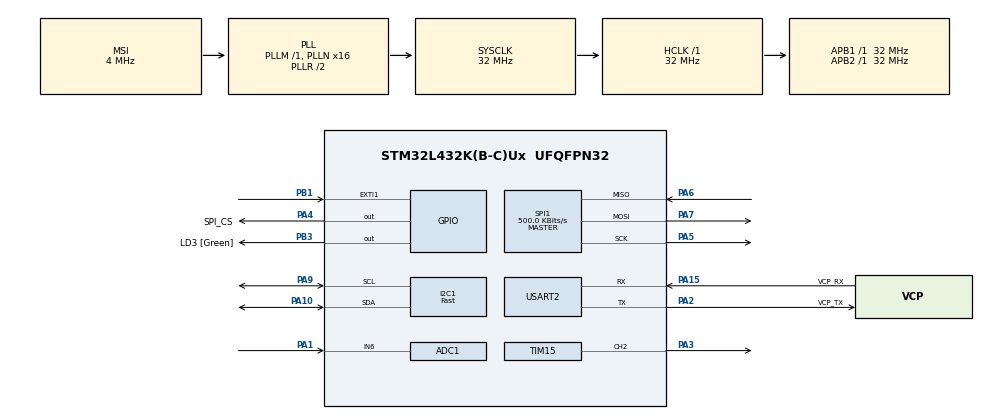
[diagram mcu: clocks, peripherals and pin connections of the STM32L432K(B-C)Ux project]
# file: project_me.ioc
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ADC1.Channel-1\#ChannelRegularConversion=ADC_CHANNEL_6
ADC1.NbrOfConversionFlag=1
ADC1.OffsetNumber-1\#ChannelRegularConversion=ADC_OFFSET_NONE
ADC1.Rank-1\#ChannelRegularConversion=1
ADC1.SamplingTime-1\#ChannelRegularConversion=ADC_SAMPLETIME_2CYCLES_5
ADC1.master=1
I2C1.I2C_Speed_Mode=I2C_Fast
I2C1.Timing=0x0060112F
Mcu.Family=STM32L4
Mcu.Name=STM32L432K(B-C)Ux
Mcu.Package=UFQFPN32
NVIC.EXTI1_IRQn=true\:3\:0\:true\:false\:true\:true\:true\:true
NVIC.PriorityGroup=NVIC_PRIORITYGROUP_4
NVIC.TIM1_UP_TIM16_IRQn=true\:1\:0\:true\:false\:true\:true\:true\:true
NVIC.TIM2_IRQn=true\:2\:0\:true\:false\:true\:true\:true\:true
PA0.GPIO_Label=MCO [High speed clock in]
PA0.Mode=HSE-External-Clock-Source-for-LittleOrca
PA0.Signal=RCC_CK_IN
PA1.Signal=ADCx_IN6
PA10.Mode=I2C
PA10.Signal=I2C1_SDA
PA13\ (JTMS-SWDIO).GPIO_Label=SWDIO
PA13\ (JTMS-SWDIO).Mode=Serial_Wire
PA13\ (JTMS-SWDIO).Signal=SYS_JTMS-SWDIO
PA14\ (JTCK-SWCLK).GPIO_Label=SWCLK
PA14\ (JTCK-SWCLK).Mode=Serial_Wire
PA14\ (JTCK-SWCLK).Signal=SYS_JTCK-SWCLK
PA15\ (JTDI).GPIO_Label=VCP_RX
PA15\ (JTDI).Mode=Asynchronous
PA15\ (JTDI).Signal=USART2_RX
PA2.GPIO_Label=VCP_TX
PA2.Mode=Asynchronous
PA2.Signal=USART2_TX
PA3.Signal=S_TIM15_CH2
PA4.GPIO_Label=SPI_CS
PA4.GPIO_PuPd=GPIO_PULLUP
PA4.GPIO_Speed=GPIO_SPEED_FREQ_HIGH
PA4.PinState=GPIO_PIN_SET
PA4.Signal=GPIO_Output
PA5.GPIO_PuPd=GPIO_PULLUP
PA5.Mode=Full_Duplex_Master
PA5.Signal=SPI1_SCK
PA6.GPIO_PuPd=GPIO_PULLUP
PA6.Mode=Full_Duplex_Master
PA6.Signal=SPI1_MISO
PA7.GPIO_PuPd=GPIO_PULLUP
PA7.Mode=Full_Duplex_Master
PA7.Signal=SPI1_MOSI
PA9.Mode=I2C
PA9.Signal=I2C1_SCL
PB1.GPIO_PuPd=GPIO_PULLDOWN
PB1.Signal=GPXTI1
PB3\ (JTDO-TRACESWO).GPIO_Label=LD3 [Green]
PB3\ (JTDO-TRACESWO).Signal=GPIO_Output
PC14-OSC32_IN\ (PC14).Mode=LSE-External-Oscillator
PC14-OSC32_IN\ (PC14).Signal=RCC_OSC32_IN
PC15-OSC32_OUT\ (PC15).Mode=LSE-External-Oscillator
PC15-OSC32_OUT\ (PC15).Signal=RCC_OSC32_OUT
ProjectManager.HeapSize=0x200
ProjectManager.StackSize=0x800
ProjectManager.TargetToolchain=STM32CubeIDE
RCC.ADCFreq_Value=32000000
RCC.AHBFreq_Value=32000000
RCC.APB1Freq_Value=32000000
RCC.APB1TimFreq_Value=32000000
RCC.APB2Freq_Value=32000000
RCC.APB2TimFreq_Value=32000000
RCC.CortexFreq_Value=32000000
RCC.HCLKFreq_Value=32000000
RCC.HSE_VALUE=8000000
RCC.HSI16_VALUE=16000000
RCC.HSI48_VALUE=48000000
RCC.HSI_VALUE=16000000
RCC.MSI_VALUE=4000000
RCC.PLLMUL=RCC_PLLMUL_4
RCC.PLLN=16
RCC.PLLSAI1N=16
RCC.SYSCLKFreq_VALUE=32000000
RCC.SYSCLKSource=RCC_SYSCLKSOURCE_PLLCLK
RCC.USBFreq_Value=32000000
RCC.VCOOutputFreq_Value=64000000
SH.ADCx_IN6.0=ADC1_IN6,IN6-Single-Ended
SH.S_TIM15_CH2.0=TIM15_CH2,PWM Generation2 CH2
SPI1.BaudRatePrescaler=SPI_BAUDRATEPRESCALER_64
SPI1.CLKPhase=SPI_PHASE_1EDGE
SPI1.CLKPolarity=SPI_POLARITY_LOW
SPI1.CalculateBaudRate=500.0 KBits/s
SPI1.DataSize=SPI_DATASIZE_8BIT
SPI1.Direction=SPI_DIRECTION_2LINES
SPI1.Mode=SPI_MODE_MASTER
SPI1.VirtualType=VM_MASTER
TIM1.AutoReloadPreload=TIM_AUTORELOAD_PRELOAD_ENABLE
TIM15.Channel-PWM\ Generation2\ CH2=TIM_CHANNEL_2
TIM15.Period=19999
TIM15.Prescaler=31
TIM2.AutoReloadPreload=TIM_AUTORELOAD_PRELOAD_ENABLE
TIM2.Period=1999
TIM2.Prescaler=3199
USART2.VirtualMode-Asynchronous=VM_ASYNC
VP_FATFS_VS_Generic.Mode=User_defined
VP_TIM15_VS_ClockSourceINT.Mode=Internal
VP_TIM1_VS_ClockSourceINT.Mode=Internal
VP_TIM2_VS_ClockSourceINT.Mode=Internal
board=NUCLEO-L432KC

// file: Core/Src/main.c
/* USER CODE BEGIN Header */
/**
  ******************************************************************************
  * @file           : main.c
  * @brief          : Main program body
  ******************************************************************************
  * @attention
  *
  * Copyright (c) 2026 STMicroelectronics.
  * All rights reserved.
  *
  * This software is licensed under terms that can be found in the LICENSE file
  * in the root directory of this software component.
  * If no LICENSE file comes with this software, it is provided AS-IS.
  *
  ******************************************************************************
  */
/* USER CODE END Header */
#include "main.h"
#include "fatfs.h"

/* USER CODE BEGIN Includes */
#include <stdio.h>
#include <string.h>
#include <stdarg.h>
#include <stdlib.h>
#include "BME280_STM32.h"
#include "stdio.h"
#include "fonts.h"
#include "ssd1306.h"
#include "icm20948.h"
#include "math.h"

/* USER CODE END Includes */

ADC_HandleTypeDef hadc1;

I2C_HandleTypeDef hi2c1;

SPI_HandleTypeDef hspi1;

TIM_HandleTypeDef htim1;
TIM_HandleTypeDef htim2;
TIM_HandleTypeDef htim15;

UART_HandleTypeDef huart2;

/* USER CODE BEGIN PV */
axises my_gyro;
axises my_accel;
axises my_mag;

float roll, pitch, yaw;
// Variable globale à ajouter
float yaw_offset = 0.0f;
int yaw_initialized = 0;

#define MAG_OFFSET_X  -31.20f
#define MAG_OFFSET_Y   21.45f
#define MAG_OFFSET_Z   51.98f

float Humidity, Pressure, Temperature;

uint32_t val_adc;
float temp_lm35 = 0;
float temp_reel_lm35 = 0;

int place_totale;
int place_dispo;

int newdata;
int update_arinc;
int ecran_type;
int last_ecran_type;

uint32_t mot_arinc; //utilisation de uint pour avoir un int non signé de 32 bits (equivalent unsigned long int)
int sync_counter;

char mess[200];
char buffer_ecriture_ecran[50];

//gestion de l'envoi sur carteSD
uint16_t session_num = 0;
char log_filename[20];
char session_buf[10]={0};

void myprintf(const char *fmt, ...);

/* USER CODE END PV */

void SystemClock_Config(void);
static void MX_GPIO_Init(void);
static void MX_USART2_UART_Init(void);
static void MX_I2C1_Init(void);
static void MX_SPI1_Init(void);
static void MX_TIM2_Init(void);
static void MX_TIM1_Init(void);
static void MX_TIM15_Init(void);
static void MX_ADC1_Init(void);
/* USER CODE BEGIN PFP */
void myprintf(const char *fmt, ...);
uint32_t create_arincWord(uint8_t label,uint8_t sdi,uint32_t data, uint8_t ssm);

/* USER CODE END PFP */

int main(void)
{

  /* MCU Configuration--------------------------------------------------------*/

  /* Reset of all peripherals, Initializes the Flash interface and the Systick. */
  HAL_Init();

  /* Configure the system clock */
  SystemClock_Config();

  /* Initialize all configured peripherals */
  MX_GPIO_Init();
  MX_USART2_UART_Init();
  MX_I2C1_Init();
  MX_SPI1_Init();
  MX_FATFS_Init();
  MX_TIM2_Init();
  MX_TIM1_Init();
  MX_TIM15_Init();
  MX_ADC1_Init();
  /* USER CODE BEGIN 2 */

  // ----------------- INITIALISATION DES PIN POUR L'ARINC ---------------------------

  //pa8 = D9 = A (multiplexeur)
  //pa11 = D10 = (multiplexeur)

  //activation horloge gpio
  RCC->AHB2ENR |= RCC_AHB2ENR_GPIOAEN;

  //on mets les port pa8 et pa11 en mode output (attention codé sur deux bits),
  GPIOA->MODER &= ~(GPIO_MODER_MODE8_1); // on met le bit 9 à 0
  GPIOA->MODER |= GPIO_MODER_MODE8_0; // on met le bit 8 à 1

  GPIOA->MODER &= ~(GPIO_MODER_MODE11_1);
  GPIOA->MODER |= GPIO_MODER_MODE11_0;

  // on configure en push pull
  GPIOA->OTYPER &= ~(GPIO_OTYPER_OT8);
  GPIOA->OTYPER &= ~(GPIO_OTYPER_OT11);

  // on configure la vitesse des ports en high speed ( code sur deux bits)
  GPIOA->OSPEEDR |= GPIO_OSPEEDR_OSPEED8_1;
  GPIOA->OSPEEDR &= ~(GPIO_OSPEEDR_OSPEED8_0);

  GPIOA->OSPEEDR |= GPIO_OSPEEDR_OSPEED11_1;
  GPIOA->OSPEEDR &= ~(GPIO_OSPEEDR_OSPEED11_0);

  // ----------------- INITIALISATION DES PIN POUR LE TOGGLE ---------------------------

    //activation horloge gpio
    RCC->AHB2ENR |= RCC_AHB2ENR_GPIOBEN;

    //mode output (attention codé sur deux bits),
    GPIOB->MODER &= ~(GPIO_MODER_MODE5_1); // on met le bit 9 à 0
    GPIOB->MODER |= GPIO_MODER_MODE5_0; // on met le bit 8 à 1

    // on configure en push pull
    GPIOB->OTYPER &= ~(GPIO_OTYPER_OT5);

    // on configure la vitesse des ports en high speed ( code sur deux bits)
    GPIOB->OSPEEDR |= GPIO_OSPEEDR_OSPEED5_1;
    GPIOB->OSPEEDR &= ~(GPIO_OSPEEDR_OSPEED5_0);

    // ----------------- INITIALISATION DES PIN POUR LES LEDS DE SECU ---------------------------

    // pb6 = tangage
    // pb7 = roulis
    //activation horloge gpio

    RCC->AHB2ENR |= RCC_AHB2ENR_GPIOBEN;

    //mode output (attention codé sur deux bits),
    GPIOB->MODER &= ~(GPIO_MODER_MODE7_1); // on met le bit 9 à 0
    GPIOB->MODER |= GPIO_MODER_MODE7_0; // on met le bit 8 à 1

    GPIOB->MODER &= ~(GPIO_MODER_MODE6_1); // on met le bit 9 à 0
    GPIOB->MODER |= GPIO_MODER_MODE6_0; // on met le bit 8 à 1

    // on configure en push pull
    GPIOB->OTYPER &= ~(GPIO_OTYPER_OT6);
    GPIOB->OTYPER &= ~(GPIO_OTYPER_OT7);

    // on configure la vitesse des ports en high speed ( code sur deux bits)
    GPIOB->OSPEEDR |= GPIO_OSPEEDR_OSPEED6_1;
    GPIOB->OSPEEDR &= ~(GPIO_OSPEEDR_OSPEED6_0);

    GPIOB->OSPEEDR |= GPIO_OSPEEDR_OSPEED7_1;
    GPIOB->OSPEEDR &= ~(GPIO_OSPEEDR_OSPEED7_0);

    // ----------------- SEQUENCE D'INITIALISATION DES CAPTEURS ---------------------------
  myprintf("Début de l'initialisation ");

  int status_ecran = SSD1306_Init ();// demarrer ecran
  if (status_ecran==0){
	  Error_Handler();
  }

  SSD1306_Clear();
  SSD1306_GotoXY (0,10); // va a la pos (0,10)
  SSD1306_Puts ("Initialisation en cours !", &Font_5x7, 1);
  SSD1306_GotoXY (0, 20);
  SSD1306_Puts ("Banc de test avionique.", &Font_5x7, 1);
  SSD1306_UpdateScreen(); // update screen

  int status = BME280_Config(OSRS_2, OSRS_16, OSRS_OFF, MODE_NORMAL, T_SB_0p5, IIR_16); // demarrage bmp280 avec parametres
  if (status!= 0)
  {
	  Error_Handler();
  }

  icm20948_init(); // initialiser gyro et accelero
  ak09916_init(); // initialiser magneto
  ak09916_init();

  HAL_Delay(3000); // delay pour calmer le jeu, surtout pour la carte sd

  // ----------------- FIN SEQUENCE D'INITIALISATION DES CAPTEURS ---------------------------

  // -------------------------- TEST SPI ------------------------------

  myprintf("TEST SPI EN COURS ...\r\n");

  SSD1306_GotoXY (0,40); // va a la pos (0,10)
  SSD1306_Puts ("TEST SPI EN COURS !", &Font_5x7, 1);
  SSD1306_UpdateScreen(); // update screen
  HAL_Delay(1000);

  //Force CS high
  HAL_GPIO_WritePin(SPI_CS_GPIO_Port, SPI_CS_Pin, GPIO_PIN_SET);
  HAL_Delay(10);

  // Envoie 10 octets 0xFF et affiche ce qu'on reçoit
  uint8_t tx = 0xFF, rx = 0x00;
  myprintf("Dummy bytes received: ");
  for(int i = 0; i < 10; i++) {
	  HAL_SPI_TransmitReceive(&hspi1, &tx, &rx, 1, 100);
	  myprintf("%02X ", rx);
  }
  myprintf("\r\n");

  // Force CS low et envoie CMD0
  HAL_GPIO_WritePin(SPI_CS_GPIO_Port, SPI_CS_Pin, GPIO_PIN_RESET);
  HAL_Delay(1);
  uint8_t cmd0[] = {0x40, 0x00, 0x00, 0x00, 0x00, 0x95};
  uint8_t resp[7] = {0};
  HAL_SPI_Transmit(&hspi1, cmd0, 6, 100);
  // Lire 7 octets de réponse
  for(int i = 0; i < 7; i++) {
	  HAL_SPI_TransmitReceive(&hspi1, &tx, &resp[i], 1, 100);
	  myprintf("resp[%d] = %02X\r\n", i, resp[i]);
  }
  HAL_GPIO_WritePin(SPI_CS_GPIO_Port, SPI_CS_Pin, GPIO_PIN_SET);

  SSD1306_GotoXY (0,50); // va a la pos (0,50)
  SSD1306_Puts ("OK !", &Font_5x7, 1);
  SSD1306_UpdateScreen(); // update screen
  HAL_Delay(1000);

  SSD1306_GotoXY (0,50); // on fait ca supprimer le "ok" avant la routine d'init de la carte SD
  SSD1306_Puts ("     ", &Font_5x7, 1);

  // --------------------------- FIN DU TEST SPI ------------------------------

  // --------------------------- GESTION CARTE SD ------------------------------------

  myprintf("\r\n~ GESTION CARTE SD ~\r\n\r\n");

  SSD1306_GotoXY (0,40); // va a la pos (0,10)
  SSD1306_Puts ("TEST CARTE SD EN COURS !", &Font_5x7, 1);
  SSD1306_UpdateScreen(); // update screen
  HAL_Delay(1000);

  //some variables for FatFs
    FATFS FatFs; 	//Fatfs handle
    FIL fil; 		//File handle
    FRESULT fres; //Result after operations

  //Open the file system
  fres = f_mount(&FatFs, "", 1); //1=mount now
  if (fres != FR_OK) {
	  myprintf("f_mount error (%i)\r\n", fres);
	  while(1);
  }

  //   //Let's get some statistics from the SD card
  DWORD free_clusters, free_sectors, total_sectors;
  FATFS* getFreeFs;

  fres = f_getfree("", &free_clusters, &getFreeFs);
  if (fres != FR_OK) {
	  myprintf("f_getfree error (%i)\r\n", fres);
	  while(1);
  }

  //Formula comes from ChaN's documentation
  total_sectors = (getFreeFs->n_fatent - 2) * getFreeFs->csize;
  free_sectors = free_clusters * getFreeFs->csize;

  myprintf("SD card stats:\r\n%10lu KiB total drive space.\r\n%10lu KiB available.\r\n", total_sectors / 2, free_sectors / 2);

  place_totale=total_sectors/2;
  place_dispo=free_sectors/2;

  //Now let's try to open file "write.txt"
  fres = f_open(&fil, "write.txt", FA_READ);
  if (fres != FR_OK) {
	  myprintf("f_open error (%i)\r\n", fres);
	  while(1);
  }
  myprintf("I was able to open 'write.txt' for reading!\r\n");

  //Read 30 bytes from "write.txt" on the SD card
  BYTE readBuf[30];

  //We can either use f_read OR f_gets to get data out of files
  //f_gets is a wrapper on f_read that does some string formatting for us
  TCHAR* rres = f_gets((TCHAR*)readBuf, 30, &fil);
  if(rres != 0) {
	  myprintf("Read string from 'write.txt' contents: %s\r\n", readBuf);
  } else {
	  myprintf("f_gets error (%i)\r\n", fres);
  }

  //Be a tidy kiwi - don't forget to close your file!
  f_close(&fil);

  //Now let's try and write a file "testf.txt"
  fres = f_open(&fil, "testf.txt", FA_WRITE | FA_OPEN_ALWAYS | FA_CREATE_ALWAYS);
  if(fres == FR_OK) {
	  myprintf("I was able to open 'testf.txt' for writing\r\n");
  } else {
	  myprintf("f_open error (%i)\r\n", fres);
  }

  //Copy in a string
  strncpy((char*)readBuf, "ca marche tres bien hugo cuck", 30);
  UINT bytesWrote;
  fres = f_write(&fil, readBuf, 30, &bytesWrote);
  if(fres == FR_OK) {
	  myprintf("Wrote %i bytes to 'testf.txt'!\r\n", bytesWrote);
  } else {
	  myprintf("f_write error (%i)\r\n", fres);
  }

  //Be a tidy kiwi - don't forget to close your file!
  f_close(&fil);

  //We're done, so de-mount the drive
  f_mount(NULL, "", 0);

  // -------------- ICI nous allons créer un fichier de gestion de version pour les fichiers de données

  FIL fil_session;

  f_mount(&FatFs, "", 1);

  //ouvre le fichier et chope le numéro sur lequel on est
  fres = f_open(&fil_session, "session.txt", FA_READ);
  if (fres == FR_OK) {
      f_gets(session_buf, sizeof(session_buf), &fil_session);
      session_num = (uint16_t)atoi(session_buf);
      f_close(&fil_session);
  }

  // incrémente et ecriture de la nouvelle valeur dans le fichier
  session_num++;
  fres = f_open(&fil_session, "session.txt", FA_WRITE | FA_CREATE_ALWAYS);
  if (fres == FR_OK) {
      f_printf(&fil_session, "%u", session_num);
      f_close(&fil_session);
  }

  // construction du fichier de log avec le numero de session actuel
  snprintf(log_filename, sizeof(log_filename), "log_%03u.csv", session_num);

  // ecriture de l'entete du fichier
  fres = f_open(&fil, log_filename, FA_WRITE | FA_CREATE_ALWAYS);
  if (fres == FR_OK) {
	  f_printf(&fil, "roll,pitch,yaw,temperature,pressure\n");
	  //f_close(&fil); // on ne close pas (pour garder le fichier ouvert toute la session)
  }else {
	  myprintf("Erreur ouverture log (%i)\r\n", fres);
  }

  SSD1306_GotoXY(0,50); // va a la pos (0,50)
  SSD1306_Puts("OK !", &Font_5x7, 1);
  SSD1306_UpdateScreen(); // update screen
  HAL_Delay(1000);

  SSD1306_Clear();
  SSD1306_GotoXY(0,0); // va a la pos (0,0)
  SSD1306_Puts("STATS CARTE SD :", &Font_5x7, 1);

  SSD1306_GotoXY(0,20); // va a la pos (0,20)
  sprintf(buffer_ecriture_ecran, "TOTAL BITS : %d bits",place_totale);
  SSD1306_Puts(buffer_ecriture_ecran, &Font_5x7, 1);

  SSD1306_GotoXY(0,30); // va a la pos (0,30)
  sprintf(buffer_ecriture_ecran, "BITS DISPO: %d bits ",place_dispo);
  SSD1306_Puts(buffer_ecriture_ecran, &Font_5x7, 1);

  SSD1306_UpdateScreen(); // update screen
  HAL_Delay(5000);

  // ---------------------------  FIN GESTION CARTE SD ------------------------------------

  SSD1306_Clear();
  HAL_TIM_Base_Start_IT(&htim2); //démarrage du timer d'acquisition
  HAL_TIM_Base_Start_IT(&htim1); //démarrage du timer d'envoi par arinc
  HAL_TIM_PWM_Start(&htim15, TIM_CHANNEL_2); //demarrage de la pwm
  /* USER CODE END 2 */

  /* Infinite loop */
  /* USER CODE BEGIN WHILE */

  while (1)
  {
	  // ------------ relevé de la valeur de l'adc et calcul ---------------
	  HAL_ADC_Start(&hadc1);
	  HAL_ADC_PollForConversion(&hadc1, 10);
	  val_adc = HAL_ADC_GetValue(&hadc1);
	  // Conversion rapide (3.3V / 4095 * 100) 4095 car l'adc est configure en 12bits
	  temp_lm35 = (val_adc*3.3)/4095;
	  temp_reel_lm35 = temp_lm35 * 100;

	  // ------------calcul des angles ------------

	  // calcul des angles pitch et roll et yaw avec la trigo
	  // marche mais le capteur doit etre initialisé dans le bon sens cad a plat
	  roll = atan2(my_accel.y, my_accel.z) * 180.0 / M_PI;
	  pitch = atan2(my_accel.x, my_accel.z) * 180.0 / M_PI;

	  float roll_rad  = roll  * M_PI / 180.0f;
	  float pitch_rad = pitch * M_PI / 180.0f;

	  float mx = my_mag.x - MAG_OFFSET_X;
	  float my = my_mag.y - MAG_OFFSET_Y;
	  float mz = my_mag.z - MAG_OFFSET_Z;

	  // calibration en fonction de pitch et roll
	  float Mx = mx * cos(pitch_rad) + mz * sin(pitch_rad);
	  float My = mx * sin(roll_rad) * sin(pitch_rad)+ my * cos(roll_rad)- mz * sin(roll_rad) * cos(pitch_rad);

	  yaw = atan2(-My, Mx) * 180.0f / M_PI;

	  //------------- controle du SG90 ----------------

	  if (!yaw_initialized) {
	      yaw_offset = yaw; // defini la valeur de yaw a laquelle on s'est initialisé
	      yaw_initialized = 1;
	  }
	  // calcul de l'angle par rapport a la potition initiale
	  float yaw_relatif = yaw - yaw_offset;

	  // recadrage entre -180 et +180 pour éviter les sauts brusques
	  if (yaw_relatif > 180.0f)  yaw_relatif -= 360.0f;
	  if (yaw_relatif < -180.0f) yaw_relatif += 360.0f;

	  // on remap la valeur de cet angle car la course du servo est de 90° max
	  if (yaw_relatif > 90.0f)  yaw_relatif = 90.0f;
	  if (yaw_relatif < -90.0f) yaw_relatif = -90.0f;

	  // on passe de -90:90 a 0:180
	  float servo_angle = yaw_relatif + 90.0f;

	  // on convertit le 0:180 en 1000:2000 (valeurs attendus par le servo (1000 = plein gauche, 1500 = centré, 2000 = plein droit)
	  uint32_t valeur_pulse = 1000 + (uint32_t)((servo_angle * 1000.0f) / 180.0f);

	 // on "set" le rapport cyclique
	  __HAL_TIM_SET_COMPARE(&htim15, TIM_CHANNEL_2, valeur_pulse);

	  if(newdata == 1){

		  // ------------------- CREATION DU MOT ARINC429 ---------------------

		  uint32_t press_arinc = Pressure; // on transforme le float en int
		  mot_arinc = create_arincWord(0xFF, 0x0, press_arinc, 0x0); // on créé le mot arinc (j'utilise 0xFF et pas 0x100 car le label n'est codé que sur 8 bits (donc jusque 255))
		  update_arinc = 1; // on dit que le nouveau mot est créé

		  // -------------------- ENVOI DES DONNES --------------------------------
		  int len = snprintf(mess, sizeof(mess), "Angles -> Roll: %.2f° | Pitch: %.2f° | Yaw: %.2f°\r\n BMP280-> Temp: %.2f | Pressure: %.2f \r\n TEMPLM35 =  %.2f \r\n ARINC = %lu \r\n", roll, pitch, yaw, Temperature, Pressure,temp_reel_lm35,mot_arinc);
		  HAL_UART_Transmit(&huart2, (uint8_t*)mess, len, 100);

		  len = snprintf(mess, sizeof(mess), "%.2f,%.2f,%.2f,%.2f,%.2f\n",roll, pitch, yaw, Temperature, Pressure);
		  UINT bw;
		  f_write(&fil, mess, len, &bw);

		  sync_counter++;
		  if (sync_counter >= 20) {
			  f_sync(&fil); // permet "d'enregistrer" toutes les dix valeurs
			  sync_counter = 0;
		  }

		  // -------------------- GESTION DES LEDS DE SECURITE ------------------------------

		  if(roll > 40.0f){
			  GPIOB->BSRR = GPIO_BSRR_BS7; // set sur pa8 = A
		  }else if (roll < -40.0f){
			  GPIOB->BSRR = GPIO_BSRR_BS7; // set sur pa8 = A
		  }else{
			  GPIOB->BSRR = GPIO_BSRR_BR7;
		  }

		  if(pitch > 40.0f){
			  GPIOB->BSRR = GPIO_BSRR_BS6;
		  }else if (pitch< -40.0f){
			  GPIOB->BSRR = GPIO_BSRR_BS6;
		  }else{
			  GPIOB->BSRR = GPIO_BSRR_BR6;
		  }

		  // -------------------- AFFICHAGE DES DONNES SUR ECRAN ----------------------------
		  int page_changed = (ecran_type != last_ecran_type);
		  if(page_changed) {
		      SSD1306_Clear();
		      last_ecran_type = ecran_type;
		  }

		  switch(ecran_type)
		  {
		  case 0:
			  SSD1306_GotoXY(0,0); // goto 0, 0
			  SSD1306_Puts("CENTRALE INERTIELLE", &Font_7x10, 1);

			  SSD1306_GotoXY(0,20); // goto 0, 10
			  sprintf(buffer_ecriture_ecran, "ROLL: %.2f ", roll); // on stocke la donnée dans un buffer car la fonction attend un str en argument
			  SSD1306_Puts(buffer_ecriture_ecran, &Font_5x7, 1); // afficher angle

			  SSD1306_GotoXY(0, 30);
			  sprintf(buffer_ecriture_ecran, "PITCH: %.2f", pitch);
			  SSD1306_Puts(buffer_ecriture_ecran, &Font_5x7, 1);

			  SSD1306_GotoXY(0, 40);
			  sprintf(buffer_ecriture_ecran, "YAW: %.2f ", yaw);
			  SSD1306_Puts(buffer_ecriture_ecran, &Font_5x7, 1);

			  SSD1306_GotoXY(0, 50);
			  SSD1306_Puts("Cliquez pour + d'infos ", &Font_5x7, 1);

			  SSD1306_UpdateScreen(); // update screen
			  break;

		  case 1 :
			  SSD1306_GotoXY(0,0); // va a la pos (0,0)
			  SSD1306_Puts("VALEURS BMP 280 :", &Font_5x7, 1);

			  SSD1306_GotoXY(0,20); // va a la pos (0,20)
			  sprintf(buffer_ecriture_ecran, "Temp : %.1f degC",Temperature);
			  SSD1306_Puts(buffer_ecriture_ecran, &Font_5x7, 1);

			  SSD1306_GotoXY(0,30); // va a la pos (0,30)
			  sprintf(buffer_ecriture_ecran, "Press: %.2f hPa ",Pressure/100);
			  SSD1306_Puts(buffer_ecriture_ecran, &Font_5x7, 1);

			  SSD1306_UpdateScreen(); // update screen
			  break;

		  case 2 :
			  SSD1306_GotoXY(0,0); // va a la pos (0,0)
			  SSD1306_Puts("STATS CARTE SD :", &Font_5x7, 1);

			  SSD1306_GotoXY(0,20); // va a la pos (0,20)
			  sprintf(buffer_ecriture_ecran, "TOTAL BITS : %d bits",place_totale);
			  SSD1306_Puts(buffer_ecriture_ecran, &Font_5x7, 1);

			  SSD1306_GotoXY(0,30); // va a la pos (0,30)
			  sprintf(buffer_ecriture_ecran, "BITS DISPO: %d bits ",place_dispo);
			  SSD1306_Puts(buffer_ecriture_ecran, &Font_5x7, 1);

			  SSD1306_UpdateScreen(); // update screen
			  break;

		  }

		  newdata = 0;
		  GPIOB->BSRR = GPIO_BSRR_BR5;

    /* USER CODE END WHILE */

	  }
  }
}

void SystemClock_Config(void)
{
  RCC_OscInitTypeDef RCC_OscInitStruct = {0};
  RCC_ClkInitTypeDef RCC_ClkInitStruct = {0};

  /** Configure the main internal regulator output voltage
  */
  if (HAL_PWREx_ControlVoltageScaling(PWR_REGULATOR_VOLTAGE_SCALE1) != HAL_OK)
  {
    Error_Handler();
  }

  /** Configure LSE Drive Capability
  */
  HAL_PWR_EnableBkUpAccess();
  __HAL_RCC_LSEDRIVE_CONFIG(RCC_LSEDRIVE_LOW);

  /** Initializes the RCC Oscillators according to the specified parameters
  * in the RCC_OscInitTypeDef structure.
  */
  RCC_OscInitStruct.OscillatorType = RCC_OSCILLATORTYPE_LSE|RCC_OSCILLATORTYPE_MSI;
  RCC_OscInitStruct.LSEState = RCC_LSE_ON;
  RCC_OscInitStruct.MSIState = RCC_MSI_ON;
  RCC_OscInitStruct.MSICalibrationValue = 0;
  RCC_OscInitStruct.MSIClockRange = RCC_MSIRANGE_6;
  RCC_OscInitStruct.PLL.PLLState = RCC_PLL_ON;
  RCC_OscInitStruct.PLL.PLLSource = RCC_PLLSOURCE_MSI;
  RCC_OscInitStruct.PLL.PLLM = 1;
  RCC_OscInitStruct.PLL.PLLN = 16;
  RCC_OscInitStruct.PLL.PLLP = RCC_PLLP_DIV7;
  RCC_OscInitStruct.PLL.PLLQ = RCC_PLLQ_DIV2;
  RCC_OscInitStruct.PLL.PLLR = RCC_PLLR_DIV2;
  if (HAL_RCC_OscConfig(&RCC_OscInitStruct) != HAL_OK)
  {
    Error_Handler();
  }

  /** Initializes the CPU, AHB and APB buses clocks
  */
  RCC_ClkInitStruct.ClockType = RCC_CLOCKTYPE_HCLK|RCC_CLOCKTYPE_SYSCLK
                              |RCC_CLOCKTYPE_PCLK1|RCC_CLOCKTYPE_PCLK2;
  RCC_ClkInitStruct.SYSCLKSource = RCC_SYSCLKSOURCE_PLLCLK;
  RCC_ClkInitStruct.AHBCLKDivider = RCC_SYSCLK_DIV1;
  RCC_ClkInitStruct.APB1CLKDivider = RCC_HCLK_DIV1;
  RCC_ClkInitStruct.APB2CLKDivider = RCC_HCLK_DIV1;

  if (HAL_RCC_ClockConfig(&RCC_ClkInitStruct, FLASH_LATENCY_1) != HAL_OK)
  {
    Error_Handler();
  }

  /** Enable MSI Auto calibration
  */
  HAL_RCCEx_EnableMSIPLLMode();
}

static void MX_ADC1_Init(void)
{

  ADC_ChannelConfTypeDef sConfig = {0};

  /** Common config
  */
  hadc1.Instance = ADC1;
  hadc1.Init.ClockPrescaler = ADC_CLOCK_ASYNC_DIV1;
  hadc1.Init.Resolution = ADC_RESOLUTION_12B;
  hadc1.Init.DataAlign = ADC_DATAALIGN_RIGHT;
  hadc1.Init.ScanConvMode = ADC_SCAN_DISABLE;
  hadc1.Init.EOCSelection = ADC_EOC_SINGLE_CONV;
  hadc1.Init.LowPowerAutoWait = DISABLE;
  hadc1.Init.ContinuousConvMode = DISABLE;
  hadc1.Init.NbrOfConversion = 1;
  hadc1.Init.DiscontinuousConvMode = DISABLE;
  hadc1.Init.ExternalTrigConv = ADC_SOFTWARE_START;
  hadc1.Init.ExternalTrigConvEdge = ADC_EXTERNALTRIGCONVEDGE_NONE;
  hadc1.Init.DMAContinuousRequests = DISABLE;
  hadc1.Init.Overrun = ADC_OVR_DATA_PRESERVED;
  hadc1.Init.OversamplingMode = DISABLE;
  if (HAL_ADC_Init(&hadc1) != HAL_OK)
  {
    Error_Handler();
  }

  /** Configure Regular Channel
  */
  sConfig.Channel = ADC_CHANNEL_6;
  sConfig.Rank = ADC_REGULAR_RANK_1;
  sConfig.SamplingTime = ADC_SAMPLETIME_2CYCLES_5;
  sConfig.SingleDiff = ADC_SINGLE_ENDED;
  sConfig.OffsetNumber = ADC_OFFSET_NONE;
  sConfig.Offset = 0;
  if (HAL_ADC_ConfigChannel(&hadc1, &sConfig) != HAL_OK)
  {
    Error_Handler();
  }

}

static void MX_I2C1_Init(void)
{

  hi2c1.Instance = I2C1;
  hi2c1.Init.Timing = 0x0060112F;
  hi2c1.Init.OwnAddress1 = 0;
  hi2c1.Init.AddressingMode = I2C_ADDRESSINGMODE_7BIT;
  hi2c1.Init.DualAddressMode = I2C_DUALADDRESS_DISABLE;
  hi2c1.Init.OwnAddress2 = 0;
  hi2c1.Init.OwnAddress2Masks = I2C_OA2_NOMASK;
  hi2c1.Init.GeneralCallMode = I2C_GENERALCALL_DISABLE;
  hi2c1.Init.NoStretchMode = I2C_NOSTRETCH_DISABLE;
  if (HAL_I2C_Init(&hi2c1) != HAL_OK)
  {
    Error_Handler();
  }

  /** Configure Analogue filter
  */
  if (HAL_I2CEx_ConfigAnalogFilter(&hi2c1, I2C_ANALOGFILTER_ENABLE) != HAL_OK)
  {
    Error_Handler();
  }

  /** Configure Digital filter
  */
  if (HAL_I2CEx_ConfigDigitalFilter(&hi2c1, 0) != HAL_OK)
  {
    Error_Handler();
  }

}

static void MX_SPI1_Init(void)
{

  /* SPI1 parameter configuration*/
  hspi1.Instance = SPI1;
  hspi1.Init.Mode = SPI_MODE_MASTER;
  hspi1.Init.Direction = SPI_DIRECTION_2LINES;
  hspi1.Init.DataSize = SPI_DATASIZE_8BIT;
  hspi1.Init.CLKPolarity = SPI_POLARITY_LOW;
  hspi1.Init.CLKPhase = SPI_PHASE_1EDGE;
  hspi1.Init.NSS = SPI_NSS_SOFT;
  hspi1.Init.BaudRatePrescaler = SPI_BAUDRATEPRESCALER_128;
  hspi1.Init.FirstBit = SPI_FIRSTBIT_MSB;
  hspi1.Init.TIMode = SPI_TIMODE_DISABLE;
  hspi1.Init.CRCCalculation = SPI_CRCCALCULATION_DISABLE;
  hspi1.Init.CRCPolynomial = 7;
  hspi1.Init.CRCLength = SPI_CRC_LENGTH_DATASIZE;
  hspi1.Init.NSSPMode = SPI_NSS_PULSE_ENABLE;
  if (HAL_SPI_Init(&hspi1) != HAL_OK)
  {
    Error_Handler();
  }

}

static void MX_TIM1_Init(void)
{

  TIM_ClockConfigTypeDef sClockSourceConfig = {0};
  TIM_MasterConfigTypeDef sMasterConfig = {0};

  htim1.Instance = TIM1;
  htim1.Init.Prescaler = 0;
  htim1.Init.CounterMode = TIM_COUNTERMODE_UP;
  htim1.Init.Period = 65535;
  htim1.Init.ClockDivision = TIM_CLOCKDIVISION_DIV1;
  htim1.Init.RepetitionCounter = 0;
  htim1.Init.AutoReloadPreload = TIM_AUTORELOAD_PRELOAD_ENABLE;
  if (HAL_TIM_Base_Init(&htim1) != HAL_OK)
  {
    Error_Handler();
  }
  sClockSourceConfig.ClockSource = TIM_CLOCKSOURCE_INTERNAL;
  if (HAL_TIM_ConfigClockSource(&htim1, &sClockSourceConfig) != HAL_OK)
  {
    Error_Handler();
  }
  sMasterConfig.MasterOutputTrigger = TIM_TRGO_RESET;
  sMasterConfig.MasterOutputTrigger2 = TIM_TRGO2_RESET;
  sMasterConfig.MasterSlaveMode = TIM_MASTERSLAVEMODE_DISABLE;
  if (HAL_TIMEx_MasterConfigSynchronization(&htim1, &sMasterConfig) != HAL_OK)
  {
    Error_Handler();
  }

}

static void MX_TIM2_Init(void)
{

  TIM_ClockConfigTypeDef sClockSourceConfig = {0};
  TIM_MasterConfigTypeDef sMasterConfig = {0};

  htim2.Instance = TIM2;
  htim2.Init.Prescaler = 3199;
  htim2.Init.CounterMode = TIM_COUNTERMODE_UP;
  htim2.Init.Period = 1999;
  htim2.Init.ClockDivision = TIM_CLOCKDIVISION_DIV1;
  htim2.Init.AutoReloadPreload = TIM_AUTORELOAD_PRELOAD_ENABLE;
  if (HAL_TIM_Base_Init(&htim2) != HAL_OK)
  {
    Error_Handler();
  }
  sClockSourceConfig.ClockSource = TIM_CLOCKSOURCE_INTERNAL;
  if (HAL_TIM_ConfigClockSource(&htim2, &sClockSourceConfig) != HAL_OK)
  {
    Error_Handler();
  }
  sMasterConfig.MasterOutputTrigger = TIM_TRGO_RESET;
  sMasterConfig.MasterSlaveMode = TIM_MASTERSLAVEMODE_DISABLE;
  if (HAL_TIMEx_MasterConfigSynchronization(&htim2, &sMasterConfig) != HAL_OK)
  {
    Error_Handler();
  }

}

static void MX_TIM15_Init(void)
{

  TIM_ClockConfigTypeDef sClockSourceConfig = {0};
  TIM_MasterConfigTypeDef sMasterConfig = {0};
  TIM_OC_InitTypeDef sConfigOC = {0};
  TIM_BreakDeadTimeConfigTypeDef sBreakDeadTimeConfig = {0};

  htim15.Instance = TIM15;
  htim15.Init.Prescaler = 31;
  htim15.Init.CounterMode = TIM_COUNTERMODE_UP;
  htim15.Init.Period = 19999;
  htim15.Init.ClockDivision = TIM_CLOCKDIVISION_DIV1;
  htim15.Init.RepetitionCounter = 0;
  htim15.Init.AutoReloadPreload = TIM_AUTORELOAD_PRELOAD_DISABLE;
  if (HAL_TIM_Base_Init(&htim15) != HAL_OK)
  {
    Error_Handler();
  }
  sClockSourceConfig.ClockSource = TIM_CLOCKSOURCE_INTERNAL;
  if (HAL_TIM_ConfigClockSource(&htim15, &sClockSourceConfig) != HAL_OK)
  {
    Error_Handler();
  }
  if (HAL_TIM_PWM_Init(&htim15) != HAL_OK)
  {
    Error_Handler();
  }
  sMasterConfig.MasterOutputTrigger = TIM_TRGO_RESET;
  sMasterConfig.MasterSlaveMode = TIM_MASTERSLAVEMODE_DISABLE;
  if (HAL_TIMEx_MasterConfigSynchronization(&htim15, &sMasterConfig) != HAL_OK)
  {
    Error_Handler();
  }
  sConfigOC.OCMode = TIM_OCMODE_PWM1;
  sConfigOC.Pulse = 0;
  sConfigOC.OCPolarity = TIM_OCPOLARITY_HIGH;
  sConfigOC.OCNPolarity = TIM_OCNPOLARITY_HIGH;
  sConfigOC.OCFastMode = TIM_OCFAST_DISABLE;
  sConfigOC.OCIdleState = TIM_OCIDLESTATE_RESET;
  sConfigOC.OCNIdleState = TIM_OCNIDLESTATE_RESET;
  if (HAL_TIM_PWM_ConfigChannel(&htim15, &sConfigOC, TIM_CHANNEL_2) != HAL_OK)
  {
    Error_Handler();
  }
  sBreakDeadTimeConfig.OffStateRunMode = TIM_OSSR_DISABLE;
  sBreakDeadTimeConfig.OffStateIDLEMode = TIM_OSSI_DISABLE;
  sBreakDeadTimeConfig.LockLevel = TIM_LOCKLEVEL_OFF;
  sBreakDeadTimeConfig.DeadTime = 0;
  sBreakDeadTimeConfig.BreakState = TIM_BREAK_DISABLE;
  sBreakDeadTimeConfig.BreakPolarity = TIM_BREAKPOLARITY_HIGH;
  sBreakDeadTimeConfig.AutomaticOutput = TIM_AUTOMATICOUTPUT_DISABLE;
  if (HAL_TIMEx_ConfigBreakDeadTime(&htim15, &sBreakDeadTimeConfig) != HAL_OK)
  {
    Error_Handler();
  }
  HAL_TIM_MspPostInit(&htim15);

}

static void MX_USART2_UART_Init(void)
{

  huart2.Instance = USART2;
  huart2.Init.BaudRate = 115200;
  huart2.Init.WordLength = UART_WORDLENGTH_8B;
  huart2.Init.StopBits = UART_STOPBITS_1;
  huart2.Init.Parity = UART_PARITY_NONE;
  huart2.Init.Mode = UART_MODE_TX_RX;
  huart2.Init.HwFlowCtl = UART_HWCONTROL_NONE;
  huart2.Init.OverSampling = UART_OVERSAMPLING_16;
  huart2.Init.OneBitSampling = UART_ONE_BIT_SAMPLE_DISABLE;
  huart2.AdvancedInit.AdvFeatureInit = UART_ADVFEATURE_NO_INIT;
  if (HAL_UART_Init(&huart2) != HAL_OK)
  {
    Error_Handler();
  }

}

static void MX_GPIO_Init(void)
{
  GPIO_InitTypeDef GPIO_InitStruct = {0};

  /* GPIO Ports Clock Enable */
  __HAL_RCC_GPIOC_CLK_ENABLE();
  __HAL_RCC_GPIOA_CLK_ENABLE();
  __HAL_RCC_GPIOB_CLK_ENABLE();

  /*Configure GPIO pin Output Level */
  HAL_GPIO_WritePin(SPI_CS_GPIO_Port, SPI_CS_Pin, GPIO_PIN_SET);

  /*Configure GPIO pin Output Level */
  HAL_GPIO_WritePin(LD3_GPIO_Port, LD3_Pin, GPIO_PIN_RESET);

  /*Configure GPIO pin : SPI_CS_Pin */
  GPIO_InitStruct.Pin = SPI_CS_Pin;
  GPIO_InitStruct.Mode = GPIO_MODE_OUTPUT_PP;
  GPIO_InitStruct.Pull = GPIO_PULLUP;
  GPIO_InitStruct.Speed = GPIO_SPEED_FREQ_HIGH;
  HAL_GPIO_Init(SPI_CS_GPIO_Port, &GPIO_InitStruct);

  /*Configure GPIO pin : PB1 */
  GPIO_InitStruct.Pin = GPIO_PIN_1;
  GPIO_InitStruct.Mode = GPIO_MODE_IT_RISING;
  GPIO_InitStruct.Pull = GPIO_PULLDOWN;
  HAL_GPIO_Init(GPIOB, &GPIO_InitStruct);

  /*Configure GPIO pin : LD3_Pin */
  GPIO_InitStruct.Pin = LD3_Pin;
  GPIO_InitStruct.Mode = GPIO_MODE_OUTPUT_PP;
  GPIO_InitStruct.Pull = GPIO_NOPULL;
  GPIO_InitStruct.Speed = GPIO_SPEED_FREQ_LOW;
  HAL_GPIO_Init(LD3_GPIO_Port, &GPIO_InitStruct);

  /* EXTI interrupt init*/
  HAL_NVIC_SetPriority(EXTI1_IRQn, 3, 0);
  HAL_NVIC_EnableIRQ(EXTI1_IRQn);

}

/* USER CODE BEGIN 4 */
void myprintf(const char *fmt, ...) {
  static char buffer[256];
  va_list args;
  va_start(args, fmt);
  vsnprintf(buffer, sizeof(buffer), fmt, args);
  va_end(args);

  int len = strlen(buffer);
  HAL_UART_Transmit(&huart2, (uint8_t*)buffer, len, -1);

}

uint32_t create_arincWord(uint8_t label,uint8_t sdi,uint32_t data, uint8_t ssm){

	uint32_t word=0;
	uint8_t somme=0;
	uint8_t parity;

	// on passe le label en bcd
	uint8_t c = (label / 100) % 10;
    uint8_t d = (label / 10) % 10;
    uint8_t u = label % 10;

	//reconstruction du label (avec masquage pour eviter le bug si > 777
    uint8_t label_bin = ((c & 0x03) << 6) | ((d & 0x07) << 3) | (u & 0x07);

	//on bouge les bits pour les placer au bon endroit sur notre mot
	word |= (ssm   & 0x03)    << 29; // le fait de masquer, permet de s'assurer d'envoyer le bon nombre de bits pour chaque troncon
	word |= (data  & 0x7FFFF) << 10;
	word |= (sdi   & 0x03)    << 8;
    word |= (label_bin & 0xFF)    << 0;

	// CHECK PARITE (impaire dans le cadre de l'arinc 429)
	 for (int i = 0; i < 31; i++) {
	        somme += (word >> i) & 1;
	    }

	    parity = (somme % 2 == 0) ? 1 : 0;

	// on ajoute notre parité
	word |= parity << 31;

	return word; //la fonction renvoie le mot
}

/* USER CODE END 4 */

void Error_Handler(void)
{
  __disable_irq();
  while (1)
  {
  }
}
